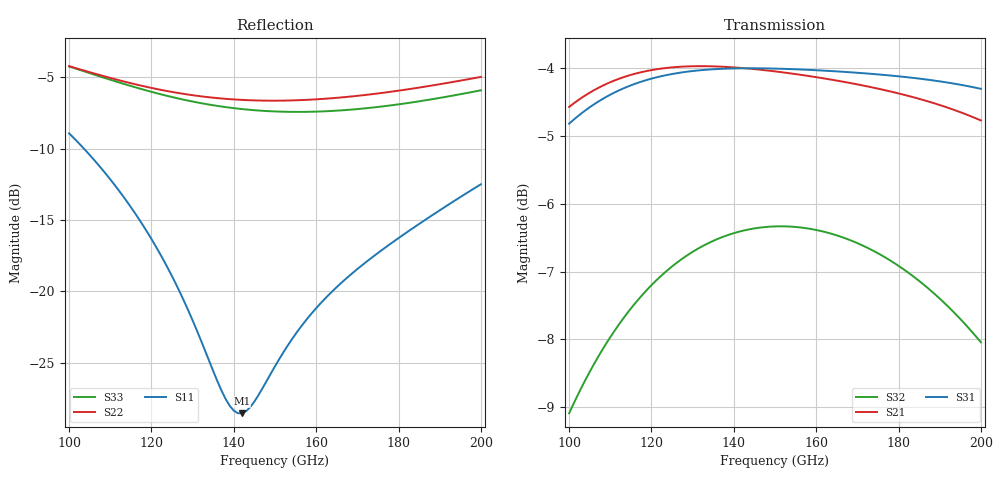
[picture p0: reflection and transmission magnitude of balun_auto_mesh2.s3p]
! Created with skrf 2.1.0 (http://scikit-rf.org).
# GHz S DB R 50.0
! Port[1] = P1
! Port[2] = P2
! Port[3] = P3
!freq dBS11 angS11 dBS12 angS12 dBS13 angS13
! dBS21 angS21 dBS22 angS22 dBS23 angS23
! dBS31 angS31 dBS32 angS32 dBS33 angS33
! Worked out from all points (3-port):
!   101 points, 100 GHz to 200 GHz, reference 50 ohm
!   strongest paths, dB at 100 GHz, 125 GHz, 150 GHz, 175 GHz, 200 GHz:
!     S31: -4.8, -4.1, -4.0, -4.1, -4.3
!     S21: -4.6, -4.0, -4.0, -4.3, -4.8
!     S32: -9.1, -6.9, -6.3, -6.7, -8.0
!   lowest |S11| = -28.5 dB at 142 GHz (marker M1), VSWR 1.08, Z = 46.4 + j0.559 ohm
!   |S11| at or under -10 dB: 103.6 GHz to end of sweep
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100  -8.93 129.5  -4.57 -12.8  -4.82 163.2
     -4.57 -12.8  -4.23 59.7  -9.09 90.3
     -4.82 163.2  -9.09 90.3  -4.24 49.2
119  -15.86 111.3  -4.04 -41.9  -4.17 132.3
     -4.04 -41.9  -5.69 43.3  -7.26 61.4
     -4.17 132.3  -7.26 61.4  -5.94 29.8
127  -20.12 111.7  -3.97 -53.1  -4.06 120.4
     -3.97 -53.1  -6.13 37.4  -6.83 50.1
     -4.06 120.4  -6.83 50.1  -6.52 22.9
138  -27.53 142.6  -3.98 -67.6  -4.00 104.9
     -3.98 -67.6  -6.51 29.7  -6.47 35.4
     -4.00 104.9  -6.47 35.4  -7.09 14.2
142  -28.54 170.7  -3.99 -72.6  -4.00 99.5
     -3.99 -72.6  -6.59 26.9  -6.40 30.3
     -4.00 99.5  -6.40 30.3  -7.23 11.2
150  -25.25 -150.8  -4.04 -82.5  -4.00 89.0
     -4.04 -82.5  -6.64 21.2  -6.33 20.2
     -4.00 89.0  -6.33 20.2  -7.40 5.3
158  -21.86 -139.1  -4.11 -92.2  -4.02 78.7
     -4.11 -92.2  -6.58 15.2  -6.36 10.5
     -4.02 78.7  -6.36 10.5  -7.42 -0.8
167  -19.17 -134.9  -4.20 -102.9  -4.05 67.4
     -4.20 -102.9  -6.39 8.2  -6.51 -0.3
     -4.05 67.4  -6.51 -0.3  -7.30 -7.7
183  -15.67 -134.0  -4.41 -121.8  -4.14 47.4
     -4.41 -121.8  -5.81 -5.4  -7.04 -19.1
     -4.14 47.4  -7.04 -19.1  -6.78 -21.0
200  -12.50 -139.0  -4.77 -142.4  -4.30 25.8
     -4.77 -142.4  -4.98 -21.4  -8.04 -39.0
     -4.30 25.8  -8.04 -39.0  -5.92 -36.3
